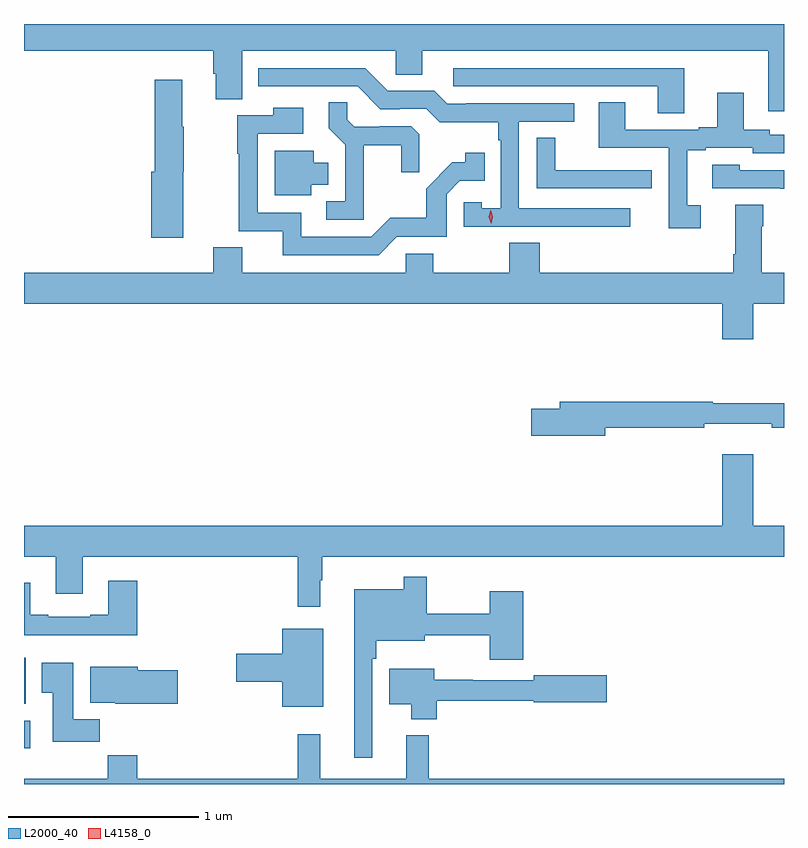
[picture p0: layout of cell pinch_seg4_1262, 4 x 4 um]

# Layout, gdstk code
import gdstk
lib = gdstk.Library(unit=1e-6, precision=1e-09)
def R(c, l, rs):  # rectangles x0, y0, x1, y1
    for r in rs: c.add(gdstk.rectangle(r[:2], r[2:], *l))
def P(c, l, *ps):  # polygons
    for p in ps: c.add(gdstk.Polygon(p, *l))
L2000_40 = (2000, 40)
L4158_0 = (4158, 0)

pinch_seg4_1262 = lib.new_cell('pinch_seg4_1262')
R(pinch_seg4_1262, L2000_40, [(377.117,785.156,377.149,785.302), (377.117,785.39,377.125,785.632)])
P(pinch_seg4_1262, L2000_40, [(381.117,788.968),(377.117,788.968),(377.117,788.828),(378.113,788.828),(378.113,788.706),(378.125,788.706),(378.125,788.572),(378.265,788.572),(378.265,788.828),(379.074,788.828),(379.074,788.701),(379.213,788.701),(379.213,788.828),(381.035,788.828),(381.035,788.508),(381.117,788.508)],
  [(380.593,788.736),(379.377,788.736),(379.377,788.64),(380.453,788.64),(380.453,788.497),(380.593,788.497)],
  [(380.308,787.998),(379.722,787.998),(379.722,788.454),(380.014,788.454),(380.014,788.55),(379.444,788.55),(379.444,788.547),(379.344,788.547),(379.275,788.616),(379.032,788.616),(378.912,788.736),(378.35,788.736),(378.35,788.64),(378.873,788.64),(378.993,788.52),(379.094,788.52),(379.094,788.523),(379.233,788.523),(379.306,788.45),(379.614,788.45),(379.614,788.357),(379.626,788.357),(379.626,787.999),(379.527,787.999),(379.527,788.031),(379.431,788.031),(379.431,787.902),(379.915,787.902),(379.915,787.9),(380.308,787.9)],
  [(377.956,788.19),(377.958,788.19),(377.958,788.426),(377.95,788.426),(377.95,788.674),(377.804,788.674),(377.804,788.19),(377.786,788.19),(377.786,787.842),(377.956,787.842)],
  [(380.68,788.013),(380.608,788.013),(380.608,788.304),(380.704,788.304),(380.704,788.316),(380.952,788.316),(380.952,788.289),(381.117,788.289),(381.117,788.385),(381.042,788.385),(381.042,788.412),(380.905,788.412),(380.905,788.605),(380.765,788.605),(380.765,788.425),(380.669,788.425),(380.669,788.412),(380.281,788.412),(380.281,788.555),(380.141,788.555),(380.141,788.316),(380.511,788.316),(380.511,787.893),(380.68,787.893)],
  [(378.905,788.33),(379.102,788.33),(379.102,788.187),(379.196,788.187),(379.196,788.389),(379.155,788.43),(378.99,788.43),(378.99,788.427),(378.856,788.427),(378.819,788.464),(378.819,788.555),(378.721,788.555),(378.721,788.419),(378.807,788.333),(378.807,788.034),(378.708,788.034),(378.708,787.938),(378.905,787.938)],
  [(379.08,787.848),(379.341,787.848),(379.341,788.073),(379.41,788.142),(379.541,788.142),(379.541,788.29),(379.44,788.29),(379.44,788.24),(379.37,788.24),(379.233,788.102),(379.233,787.947),(379.044,787.947),(378.945,787.848),(378.577,787.848),(378.577,787.974),(378.348,787.974),(378.348,788.391),(378.586,788.391),(378.586,788.527),(378.43,788.527),(378.43,788.487),(378.24,788.487),(378.24,788.284),(378.247,788.284),(378.247,787.878),(378.479,787.878),(378.479,787.752),(378.984,787.752)],
  [(380.422,788.198),(380.309,788.198),(380.309,788.199),(379.914,788.199),(379.914,788.369),(379.815,788.369),(379.815,788.103),(380.422,788.103)],
  [(378.628,788.123),(378.718,788.123),(378.718,788.239),(378.643,788.239),(378.643,788.302),(378.437,788.302),(378.437,788.066),(378.628,788.066)],
  [(381.117,788.199),(380.883,788.199),(380.883,788.227),(380.739,788.227),(380.739,788.103),(381.097,788.103),(381.097,788.101),(381.117,788.101)],
  [(380.956,787.496),(381.117,787.496),(381.117,787.66),(381.001,787.66),(381.001,787.904),(381.009,787.904),(381.009,788.017),(380.861,788.017),(380.861,787.756),(380.849,787.756),(380.849,787.66),(379.832,787.66),(379.832,787.817),(379.672,787.817),(379.672,787.66),(379.272,787.66),(379.272,787.758),(379.125,787.758),(379.125,787.66),(378.265,787.66),(378.265,787.793),(378.113,787.793),(378.113,787.66),(377.117,787.66),(377.117,787.496),(380.792,787.496),(380.792,787.308),(380.956,787.308)],
  [(380.176,786.844),(380.696,786.844),(380.696,786.863),(381.052,786.863),(381.052,786.844),(381.117,786.844),(381.117,786.973),(380.741,786.973),(380.741,786.98),(379.937,786.98),(379.937,786.944),(379.788,786.944),(379.788,786.802),(380.176,786.802)],
  [(378.676,786.041),(378.688,786.041),(378.688,786.164),(381.117,786.164),(381.117,786.328),(380.956,786.328),(380.956,786.703),(380.792,786.703),(380.792,786.328),(377.117,786.328),(377.117,786.164),(377.285,786.164),(377.285,785.97),(377.425,785.97),(377.425,786.164),(378.559,786.164),(378.559,785.901),(378.676,785.901)],
  [(378.951,785.627),(378.971,785.627),(378.971,785.723),(379.225,785.723),(379.225,785.752),(379.567,785.752),(379.567,785.622),(379.745,785.622),(379.745,785.983),(379.567,785.983),(379.567,785.863),(379.237,785.863),(379.237,786.058),(379.116,786.058),(379.116,785.992),(378.854,785.992),(378.854,785.106),(378.951,785.106)],
  [(377.714,786.037),(377.561,786.037),(377.561,785.86),(377.465,785.86),(377.465,785.847),(377.245,785.847),(377.245,785.86),(377.149,785.86),(377.149,786.028),(377.117,786.028),(377.117,785.75),(377.714,785.75)],
  [(378.691,785.785),(378.476,785.785),(378.476,785.654),(378.234,785.654),(378.234,785.507),(378.476,785.507),(378.476,785.375),(378.691,785.375)],
  [(377.516,785.308),(377.377,785.308),(377.377,785.605),(377.21,785.605),(377.21,785.449),(377.267,785.449),(377.267,785.19),(377.516,785.19)],
  [(377.926,785.567),(377.716,785.567),(377.716,785.584),(377.465,785.584),(377.465,785.396),(377.598,785.396),(377.598,785.39),(377.926,785.39)],
  [(379.289,785.406),(379.8,785.406),(379.8,785.398),(380.185,785.398),(380.185,785.54),(379.8,785.54),(379.8,785.514),(379.478,785.514),(379.478,785.517),(379.276,785.517),(379.276,785.575),(379.04,785.575),(379.04,785.387),(379.154,785.387),(379.154,785.309),(379.289,785.309)],
  [(381.117,784.996),(379.247,784.996),(379.247,785.224),(379.13,785.224),(379.13,784.996),(378.677,784.996),(378.677,785.23),(378.559,785.23),(378.559,784.996),(377.714,784.996),(377.714,785.12),(377.557,785.12),(377.557,784.996),(377.117,784.996),(377.117,784.968),(381.117,784.968)])
P(pinch_seg4_1262, L4158_0, [(379.575,787.917),(379.575,787.917),(379.564,787.953),(379.573,787.989),(379.574,787.989),(379.574,787.989),(379.584,787.954),(379.576,787.917)])

lib.write_gds('pinch_seg4_1262.gds')
